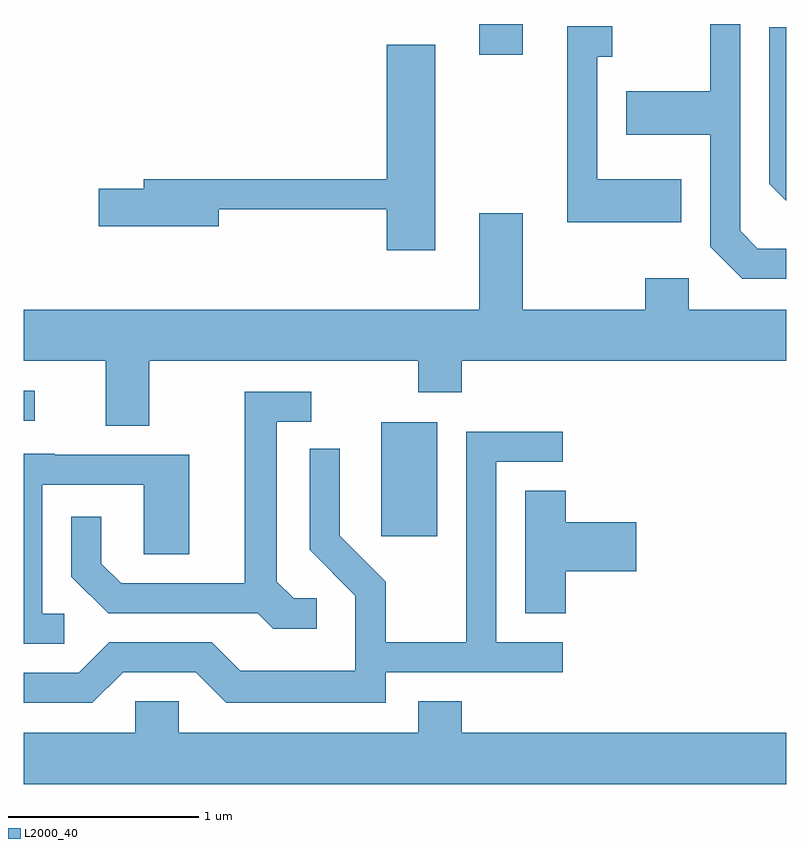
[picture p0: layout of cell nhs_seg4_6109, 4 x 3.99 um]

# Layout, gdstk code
import gdstk
lib = gdstk.Library(unit=1e-6, precision=1e-09)
def R(c, l, rs):  # rectangles x0, y0, x1, y1
    for r in rs: c.add(gdstk.rectangle(r[:2], r[2:], *l))
def P(c, l, *ps):  # polygons
    for p in ps: c.add(gdstk.Polygon(p, *l))
L2000_40 = (2000, 40)

nhs_seg4_6109 = lib.new_cell('nhs_seg4_6109')
R(nhs_seg4_6109, L2000_40, [(365.486,1369.296,365.779,1369.894), (363.611,1369.901,363.668,1370.059), (366.001,1371.821,366.229,1371.982)])
P(nhs_seg4_6109, L2000_40, [(367.611,1370.804),(367.462,1370.804),(367.369,1370.897),(367.369,1371.982),(367.211,1371.982),(367.211,1371.629),(366.771,1371.629),(366.771,1371.401),(367.211,1371.401),(367.211,1370.814),(367.379,1370.646),(367.611,1370.646)],
  [(367.059,1371.169),(366.619,1371.169),(366.619,1371.811),(366.698,1371.811),(366.698,1371.969),(366.461,1371.969),(366.461,1370.941),(367.059,1370.941)],
  [(367.611,1371.964),(367.521,1371.964),(367.521,1371.144),(367.611,1371.054)],
  [(365.769,1371.874),(365.516,1371.874),(365.516,1371.169),(364.241,1371.169),(364.241,1371.119),(364.006,1371.119),(364.006,1370.921),(364.634,1370.921),(364.634,1371.011),(365.516,1371.011),(365.516,1370.796),(365.769,1370.796)],
  [(364.269,1370.216),(365.681,1370.216),(365.681,1370.051),(365.909,1370.051),(365.909,1370.216),(367.611,1370.216),(367.611,1370.484),(367.099,1370.484),(367.099,1370.649),(366.871,1370.649),(366.871,1370.484),(366.229,1370.484),(366.229,1370.989),(366.001,1370.989),(366.001,1370.484),(363.611,1370.484),(363.611,1370.216),(364.041,1370.216),(364.041,1369.876),(364.269,1369.876)],
  [(365.148,1368.969),(365.027,1368.969),(364.939,1369.057),(364.939,1369.896),(365.118,1369.896),(365.118,1370.054),(364.771,1370.054),(364.771,1369.049),(364.122,1369.049),(364.019,1369.152),(364.019,1369.398),(363.861,1369.398),(363.861,1369.084),(364.054,1368.891),(364.839,1368.891),(364.919,1368.811),(365.148,1368.811)],
  [(364.132,1368.581),(364.514,1368.581),(364.674,1368.421),(365.509,1368.421),(365.509,1368.581),(366.438,1368.581),(366.438,1368.739),(366.089,1368.739),(366.089,1369.686),(366.438,1369.686),(366.438,1369.844),(365.931,1369.844),(365.931,1368.739),(365.509,1368.739),(365.509,1369.057),(365.269,1369.297),(365.269,1369.753),(365.111,1369.753),(365.111,1369.224),(365.351,1368.984),(365.351,1368.589),(364.747,1368.589),(364.597,1368.739),(364.059,1368.739),(363.899,1368.579),(363.611,1368.579),(363.611,1368.421),(363.972,1368.421)],
  [(363.823,1368.889),(363.709,1368.889),(363.709,1369.566),(364.241,1369.566),(364.241,1369.201),(364.479,1369.201),(364.479,1369.724),(363.775,1369.724),(363.775,1369.729),(363.611,1369.729),(363.611,1368.731),(363.823,1368.731)],
  [(366.454,1369.111),(366.824,1369.111),(366.824,1369.369),(366.454,1369.369),(366.454,1369.534),(366.241,1369.534),(366.241,1368.891),(366.454,1368.891)],
  [(367.611,1368.264),(365.909,1368.264),(365.909,1368.429),(365.681,1368.429),(365.681,1368.264),(364.424,1368.264),(364.424,1368.429),(364.196,1368.429),(364.196,1368.264),(363.611,1368.264),(363.611,1367.996),(367.611,1367.996)])

lib.write_gds('nhs_seg4_6109.gds')
